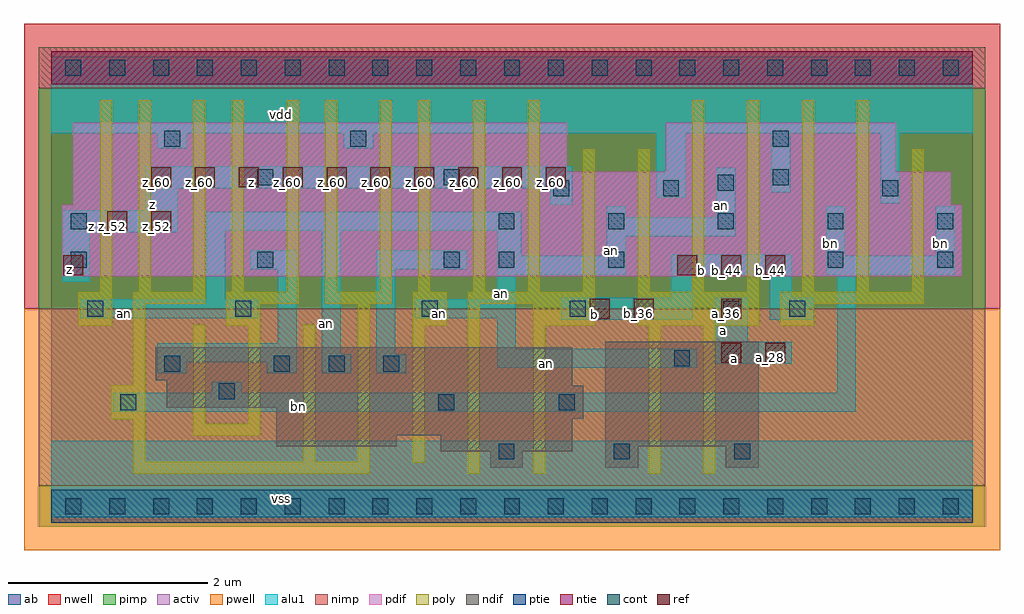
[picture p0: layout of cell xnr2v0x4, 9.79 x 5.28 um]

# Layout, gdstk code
import gdstk
lib = gdstk.Library(unit=1e-6, precision=2.5e-09)
def R(c, l, rs):  # rectangles x0, y0, x1, y1
    for r in rs: c.add(gdstk.rectangle(r[:2], r[2:], *l))
def A(c, l, x, y, w, h, nx, ny, dx, dy):  # array of equal rectangles
    R(c, l, [(x+i*dx, y+j*dy, x+i*dx+w, y+j*dy+h) for i in range(nx) for j in range(ny)])
ndif = (3, 0)
pdif = (4, 0)
ntie = (5, 0)
ptie = (6, 0)
ref = (24, 0)
cont = (25, 0)
pwell = (41, 0)
nwell = (42, 0)
activ = (43, 0)
pimp = (44, 0)
nimp = (45, 0)
poly = (46, 0)
alu1 = (49, 0)
ab = (63, 0)

xnr2v0x4 = lib.new_cell('xnr2v0x4')
R(xnr2v0x4, ndif, [(4.4,0.385,4.73,0.55), (5.555,0.385,5.885,0.605), (6.765,0.385,7.095,0.605), (3.905,0.55,5.225,0.715), (2.255,0.605,3.465,0.715), (5.555,0.605,7.095,1.65), (2.255,0.715,5.225,0.88), (2.255,0.88,5.335,0.99), (1.155,0.99,5.335,1.21), (1.155,1.21,5.225,1.265), (1.045,1.265,5.225,1.595)])
R(xnr2v0x4, pdif, [(0.11,2.31,9.13,3.025), (0.22,3.025,9.02,3.355), (0.22,3.355,5.17,3.85), (6.16,3.355,8.47,3.85)])
R(xnr2v0x4, ntie, [(0,4.235,9.24,4.565)])
R(xnr2v0x4, ptie, [(0,-0.165,9.24,0.165)])
A(xnr2v0x4, ref, 6.28, 2.32, 0.2, 0.2, 3, 1, 0.44, 0)
A(xnr2v0x4, ref, 1, 3.2, 0.2, 0.2, 10, 1, 0.44, 0)
R(xnr2v0x4, ref, [(6.72,1.44,6.92,1.64), (7.16,1.44,7.36,1.64), (5.4,1.88,5.6,2.08), (5.84,1.88,6.04,2.08), (6.72,1.88,6.92,2.08), (0.12,2.32,0.32,2.52), (0.56,2.76,0.76,2.96), (1,2.76,1.2,2.96)])
A(xnr2v0x4, cont, 0.14, -0.08, 0.16, 0.16, 21, 2, 0.44, 4.4)
A(xnr2v0x4, cont, 2.23, 1.35, 0.16, 0.16, 3, 1, 0.55, 0)
A(xnr2v0x4, cont, 0.195, 2.395, 0.16, 0.16, 3, 1, 1.87, 0)
A(xnr2v0x4, cont, 4.485, 2.78, 0.16, 0.16, 5, 1, 1.1, 0)
R(xnr2v0x4, cont, [(4.485,0.47,4.645,0.63), (5.64,0.47,5.8,0.63), (6.85,0.47,7.01,0.63), (0.69,0.965,0.85,1.125), (3.88,0.965,4.04,1.125), (5.09,0.965,5.25,1.125), (1.68,1.075,1.84,1.235), (1.13,1.35,1.29,1.51), (6.245,1.405,6.405,1.565), (0.36,1.9,0.52,2.06), (1.845,1.9,2.005,2.06), (3.715,1.9,3.875,2.06), (5.2,1.9,5.36,2.06), (6.74,1.9,6.9,2.06), (7.4,1.9,7.56,2.06), (4.485,2.395,4.645,2.555), (5.585,2.395,5.745,2.555), (7.785,2.395,7.945,2.555), (8.885,2.395,9.045,2.555), (0.195,2.78,0.355,2.94), (5.035,3.11,5.195,3.27), (6.135,3.11,6.295,3.27), (8.335,3.11,8.495,3.27), (6.685,3.165,6.845,3.325), (2.065,3.22,2.225,3.38), (3.935,3.22,4.095,3.38), (7.235,3.22,7.395,3.38), (1.13,3.605,1.29,3.765), (3,3.605,3.16,3.765), (7.235,3.605,7.395,3.765)])
R(xnr2v0x4, pwell, [(-0.275,-0.44,9.515,1.98)])
R(xnr2v0x4, nwell, [(-0.275,1.98,9.515,4.84)])
R(xnr2v0x4, activ, [(0,-0.165,9.24,0.165), (4.4,0.385,4.73,0.55), (5.555,0.385,5.885,0.605), (6.765,0.385,7.095,0.605), (3.905,0.55,5.225,0.715), (2.255,0.605,3.465,0.715), (5.555,0.605,7.095,1.65), (2.255,0.715,5.225,0.88), (2.255,0.88,5.335,0.99), (1.155,0.99,5.335,1.21), (1.155,1.21,5.225,1.265), (1.045,1.265,5.225,1.595), (0.11,2.31,9.13,3.025), (0.22,3.025,9.02,3.355), (0.22,3.355,5.17,3.85), (6.16,3.355,8.47,3.85), (0,4.235,9.24,4.565)])
R(xnr2v0x4, pimp, [(-0.125,-0.205,9.365,0.205), (-0.125,1.98,9.365,4.195)])
R(xnr2v0x4, nimp, [(-0.125,0.205,9.365,1.98), (-0.125,4.195,9.365,4.605)])
A(xnr2v0x4, poly, 3.68, 2.15, 0.12, 1.925, 3, 1, 0.55, 0)
A(xnr2v0x4, poly, 6.43, 2.15, 0.12, 1.925, 4, 1, 0.55, 0)
R(xnr2v0x4, poly, [(0.82,0.325,3.195,0.445), (4.175,0.325,4.295,2.03), (4.835,0.325,4.955,1.81), (5.99,0.325,6.11,1.81), (6.54,0.325,6.66,1.81), (3.625,0.435,3.745,1.81), (0.82,0.445,0.94,0.875), (2.525,0.445,2.645,1.82), (3.075,0.445,3.195,2.03), (1.425,0.71,2.095,0.83), (1.425,0.83,1.545,1.82), (1.975,0.83,2.095,1.81), (0.6,0.875,0.94,1.215), (0.82,1.215,0.94,2.03), (0.27,1.81,0.61,2.15), (1.755,1.81,2.095,2.03), (3.625,1.81,3.965,2.15), (4.835,1.81,5.45,2.03), (5.88,1.81,7.1,2.15), (7.31,1.81,7.65,2.03), (0.82,2.03,1.545,2.15), (1.755,2.03,2.48,2.15), (2.745,2.03,3.415,2.15), (4.175,2.03,5.45,2.15), (7.31,2.03,8.75,2.15), (0.49,2.15,0.61,4.075), (0.875,2.15,0.995,4.075), (1.425,2.15,1.545,4.075), (1.81,2.15,1.93,4.075), (2.36,2.15,2.48,4.075), (2.745,2.15,2.865,4.075), (3.295,2.15,3.415,4.075), (5.33,2.15,5.45,3.58), (5.88,2.15,6,3.58), (8.63,2.15,8.75,3.58)])
R(xnr2v0x4, alu1, [(0,-0.11,9.24,0.66), (0.62,0.95,8.07,1.14), (1.61,1.14,1.91,1.25), (7.88,1.14,8.07,2.325), (1.06,1.335,1.36,1.445), (2.16,1.335,2.46,1.445), (2.71,1.335,3.01,1.525), (3.26,1.335,3.56,1.525), (4.47,1.39,6.475,1.58), (6.655,1.43,7.425,1.65), (1.06,1.445,2.46,1.635), (2.71,1.525,2.9,2.765), (3.26,1.525,3.45,2.38), (4.47,1.58,4.66,1.885), (2.27,1.635,2.46,2.38), (6.655,1.65,6.985,2.09), (5.115,1.87,6.435,2.09), (7.205,1.87,7.645,2.09), (0.29,1.885,2.075,2.075), (3.645,1.885,4.66,2.075), (1.555,2.075,1.745,2.765), (4.47,2.075,4.66,2.325), (6.215,2.09,6.435,2.31), (7.205,2.09,7.425,2.31), (0.11,2.255,0.385,2.75), (6.215,2.31,7.425,2.53), (4.47,2.325,5.76,2.515), (7.77,2.325,9.06,2.515), (1.995,2.38,2.46,2.57), (3.26,2.38,4.165,2.57), (4.47,2.515,4.715,2.765), (5.57,2.515,5.76,2.71), (7.77,2.515,7.96,3.01), (8.87,2.515,9.06,3.01), (5.57,2.71,6.86,2.9), (0.11,2.75,1.265,2.97), (1.555,2.765,4.715,2.955), (5.57,2.9,5.76,3.01), (6.67,2.9,6.86,3.395), (0.935,2.97,1.265,3.19), (5.005,3.025,5.225,3.19), (8.32,3.04,8.51,3.74), (6.065,3.095,6.365,3.74), (7.22,3.15,7.41,3.74), (0.935,3.19,5.225,3.41), (1.06,3.59,1.36,3.74), (2.93,3.59,3.23,3.74), (0,3.74,9.24,4.51)])
R(xnr2v0x4, ab, [(0,0,9.24,4.4)])
xnr2v0x4.add(gdstk.Label('vss', (2.31,0.0825), layer=49, texttype=0))
xnr2v0x4.add(gdstk.Label('bn', (2.4825,0.9975), layer=49, texttype=0))
xnr2v0x4.add(gdstk.Label('a', (6.8475,1.485), layer=49, texttype=0))
xnr2v0x4.add(gdstk.Label('an', (4.97,1.4375), layer=49, texttype=0))
xnr2v0x4.add(gdstk.Label('a', (6.7375,1.76), layer=49, texttype=0))
xnr2v0x4.add(gdstk.Label('b', (5.445,1.925), layer=49, texttype=0))
xnr2v0x4.add(gdstk.Label('an', (3.8975,1.9325), layer=49, texttype=0))
xnr2v0x4.add(gdstk.Label('bn', (8.9175,2.6375), layer=49, texttype=0))
xnr2v0x4.add(gdstk.Label('bn', (7.8175,2.6375), layer=49, texttype=0))
xnr2v0x4.add(gdstk.Label('b', (6.5175,2.365), layer=49, texttype=0))
xnr2v0x4.add(gdstk.Label('an', (4.5175,2.1375), layer=49, texttype=0))
xnr2v0x4.add(gdstk.Label('an', (5.6175,2.5625), layer=49, texttype=0))
xnr2v0x4.add(gdstk.Label('an', (6.7175,3.0225), layer=49, texttype=0))
xnr2v0x4.add(gdstk.Label('an', (2.7575,1.835), layer=49, texttype=0))
xnr2v0x4.add(gdstk.Label('an', (0.735,1.9325), layer=49, texttype=0))
xnr2v0x4.add(gdstk.Label('z', (0.1775,2.3775), layer=49, texttype=0))
xnr2v0x4.add(gdstk.Label('z', (0.3975,2.805), layer=49, texttype=0))
xnr2v0x4.add(gdstk.Label('z', (1.0175,3.025), layer=49, texttype=0))
xnr2v0x4.add(gdstk.Label('z', (2.0075,3.245), layer=49, texttype=0))
xnr2v0x4.add(gdstk.Label('vdd', (2.31,3.9325), layer=49, texttype=0))
xnr2v0x4.add(gdstk.Label('z_60', (5.01,3.25), layer=24, texttype=0))
xnr2v0x4.add(gdstk.Label('b_44', (7.21,2.37), layer=24, texttype=0))
xnr2v0x4.add(gdstk.Label('b_44', (6.77,2.37), layer=24, texttype=0))
xnr2v0x4.add(gdstk.Label('b_44', (6.33,2.37), layer=24, texttype=0))
xnr2v0x4.add(gdstk.Label('a_36', (6.77,1.93), layer=24, texttype=0))
xnr2v0x4.add(gdstk.Label('a_28', (6.77,1.49), layer=24, texttype=0))
xnr2v0x4.add(gdstk.Label('a_28', (7.21,1.49), layer=24, texttype=0))
xnr2v0x4.add(gdstk.Label('z_60', (1.05,3.25), layer=24, texttype=0))
xnr2v0x4.add(gdstk.Label('z_60', (1.49,3.25), layer=24, texttype=0))
xnr2v0x4.add(gdstk.Label('z_52', (1.05,2.81), layer=24, texttype=0))
xnr2v0x4.add(gdstk.Label('z_44', (0.17,2.37), layer=24, texttype=0))
xnr2v0x4.add(gdstk.Label('z_60', (4.13,3.25), layer=24, texttype=0))
xnr2v0x4.add(gdstk.Label('z_60', (3.69,3.25), layer=24, texttype=0))
xnr2v0x4.add(gdstk.Label('z_60', (3.25,3.25), layer=24, texttype=0))
xnr2v0x4.add(gdstk.Label('z_60', (2.81,3.25), layer=24, texttype=0))
xnr2v0x4.add(gdstk.Label('z_60', (2.37,3.25), layer=24, texttype=0))
xnr2v0x4.add(gdstk.Label('z_60', (4.57,3.25), layer=24, texttype=0))
xnr2v0x4.add(gdstk.Label('z_60', (1.93,3.25), layer=24, texttype=0))
xnr2v0x4.add(gdstk.Label('z_52', (0.61,2.81), layer=24, texttype=0))
xnr2v0x4.add(gdstk.Label('b_36', (5.89,1.93), layer=24, texttype=0))
xnr2v0x4.add(gdstk.Label('b_36', (5.45,1.93), layer=24, texttype=0))

lib.write_gds('xnr2v0x4.gds')
